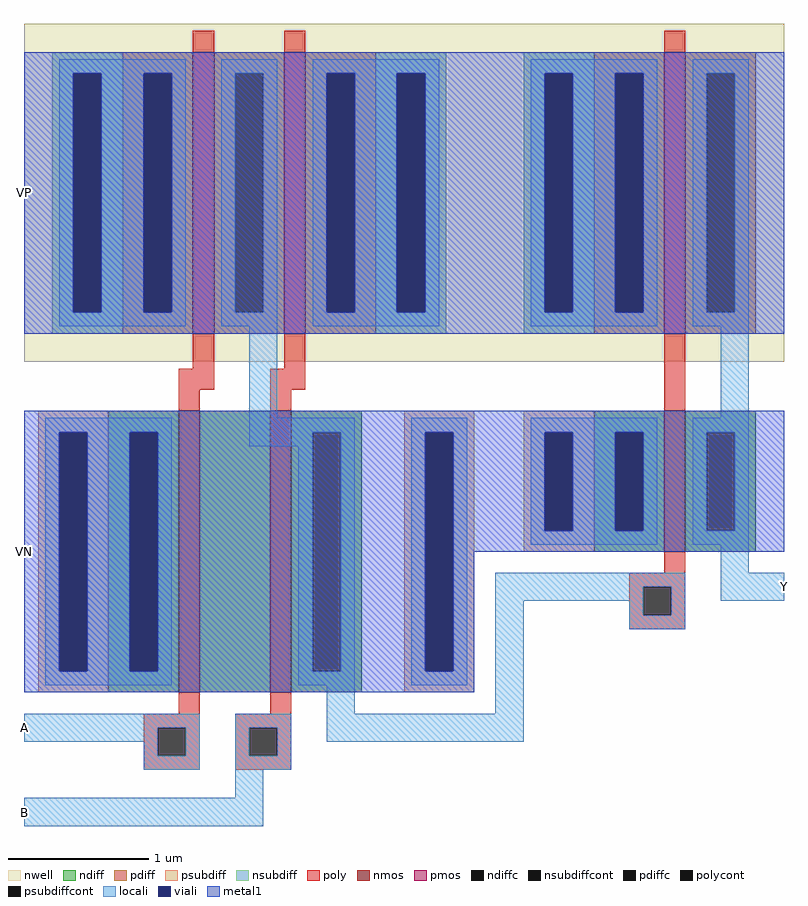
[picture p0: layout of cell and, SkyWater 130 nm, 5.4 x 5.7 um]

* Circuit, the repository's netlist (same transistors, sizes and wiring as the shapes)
* SPICE3 file created from and.ext - technology: sky130A

.subckt inverter Y w_n240_270# a_n200_0# a_n50_n110#
X0 Y a_n50_n110# w_n240_270# w_n240_270# sky130_fd_pr__pfet_01v8 ad=1 pd=5 as=1 ps=5 w=2 l=0.15
X1 Y a_n50_n110# a_n200_0# a_n200_0# sky130_fd_pr__nfet_01v8 ad=0.5 pd=3 as=0.5 ps=3 w=1 l=0.15
.ends

.subckt nand A B Y VP VN
X0 Y B a_10_0# VN sky130_fd_pr__nfet_01v8 ad=1 pd=5 as=0.5 ps=2.5 w=2 l=0.15
X1 Y A VP VP sky130_fd_pr__pfet_01v8 ad=0.5 pd=2.5 as=1 ps=5 w=2 l=0.15
X2 a_10_0# A VN VN sky130_fd_pr__nfet_01v8 ad=0.5 pd=2.5 as=1 ps=5 w=2 l=0.15
X3 VP B Y VP sky130_fd_pr__pfet_01v8 ad=1 pd=5 as=0.5 ps=2.5 w=2 l=0.15
.ends

Xinverter_0 Y VP VN nand_0/Y inverter
Xnand_0 A B nand_0/Y VP VN nand
.end

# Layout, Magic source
magic
tech sky130A
<< nwell >>
rect 320 330 335 570
<< locali >>
rect 335 80 355 180
rect 520 160 540 180
rect 0 60 20 80
rect 300 60 355 80
rect 0 0 20 20
<< metal1 >>
rect 0 350 15 550
rect 305 350 350 550
rect 525 350 540 550
rect 0 95 15 295
rect 305 195 350 295
rect 525 195 540 295
rect 305 95 320 195
use inverter  inverter_0
transform 1 0 455 0 1 195
box -120 -55 85 375
use nand  nand_0
transform 1 0 120 0 1 95
box -120 -95 200 475
<< labels >>
rlabel locali 0 70 0 70 7 A
port 1 w
rlabel locali 0 10 0 10 7 B
port 2 w
rlabel locali 540 170 540 170 3 Y
rlabel metal1 0 195 0 195 7 VN
port 5 w
rlabel metal1 0 450 0 450 7 VP
port 4 w
<< end >>

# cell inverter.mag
magic
tech sky130A
<< nwell >>
rect -120 135 85 375
<< nmos >>
rect 0 0 15 100
<< pmos >>
rect 0 155 15 355
<< ndiff >>
rect -50 85 0 100
rect -50 15 -35 85
rect -15 15 0 85
rect -50 0 0 15
rect 15 85 65 100
rect 15 15 30 85
rect 50 15 65 85
rect 15 0 65 15
<< pdiff >>
rect -50 340 0 355
rect -50 170 -35 340
rect -15 170 0 340
rect -50 155 0 170
rect 15 340 65 355
rect 15 170 30 340
rect 50 170 65 340
rect 15 155 65 170
<< ndiffc >>
rect -35 15 -15 85
rect 30 15 50 85
<< pdiffc >>
rect -35 170 -15 340
rect 30 170 50 340
<< psubdiff >>
rect -100 85 -50 100
rect -100 15 -85 85
rect -65 15 -50 85
rect -100 0 -50 15
<< nsubdiff >>
rect -100 340 -50 355
rect -100 170 -85 340
rect -65 170 -50 340
rect -100 155 -50 170
<< psubdiffcont >>
rect -85 15 -65 85
<< nsubdiffcont >>
rect -85 170 -65 340
<< poly >>
rect 0 355 15 370
rect 0 100 15 155
rect 0 -15 15 0
rect -25 -25 15 -15
rect -25 -45 -15 -25
rect 5 -45 15 -25
rect -25 -55 15 -45
<< polycont >>
rect -15 -45 5 -25
<< locali >>
rect -95 340 -5 350
rect -95 170 -85 340
rect -65 170 -35 340
rect -15 170 -5 340
rect -95 160 -5 170
rect 20 340 60 350
rect 20 170 30 340
rect 50 170 60 340
rect 20 160 60 170
rect 40 95 60 160
rect -95 85 -5 95
rect -95 15 -85 85
rect -65 15 -35 85
rect -15 15 -5 85
rect -95 5 -5 15
rect 20 85 60 95
rect 20 15 30 85
rect 50 15 60 85
rect 20 5 60 15
rect 40 -15 60 5
rect -120 -25 15 -15
rect -120 -35 -15 -25
rect -25 -45 -15 -35
rect 5 -45 15 -25
rect 40 -35 85 -15
rect -25 -55 15 -45
<< viali >>
rect -85 170 -65 340
rect -35 170 -15 340
rect -85 15 -65 85
rect -35 15 -15 85
<< metal1 >>
rect -120 340 85 355
rect -120 170 -85 340
rect -65 170 -35 340
rect -15 170 85 340
rect -120 155 85 170
rect -120 85 85 100
rect -120 15 -85 85
rect -65 15 -35 85
rect -15 15 85 85
rect -120 0 85 15
<< labels >>
rlabel locali 85 -25 85 -25 3 Y
port 2 e
<< end >>

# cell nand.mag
magic
tech sky130A
<< nwell >>
rect -120 235 200 475
<< nmos >>
rect -10 0 5 200
rect 55 0 70 200
<< pmos >>
rect 0 255 15 455
rect 65 255 80 455
<< ndiff >>
rect -60 185 -10 200
rect -60 15 -45 185
rect -25 15 -10 185
rect -60 0 -10 15
rect 5 0 55 200
rect 70 185 120 200
rect 70 15 85 185
rect 105 15 120 185
rect 70 0 120 15
<< pdiff >>
rect -50 440 0 455
rect -50 270 -35 440
rect -15 270 0 440
rect -50 255 0 270
rect 15 440 65 455
rect 15 270 30 440
rect 50 270 65 440
rect 15 255 65 270
rect 80 440 130 455
rect 80 270 95 440
rect 115 270 130 440
rect 80 255 130 270
<< ndiffc >>
rect -45 15 -25 185
rect 85 15 105 185
<< pdiffc >>
rect -35 270 -15 440
rect 30 270 50 440
rect 95 270 115 440
<< psubdiff >>
rect -110 185 -60 200
rect -110 15 -95 185
rect -75 15 -60 185
rect -110 0 -60 15
rect 150 185 200 200
rect 150 15 165 185
rect 185 15 200 185
rect 150 0 200 15
<< nsubdiff >>
rect -100 440 -50 455
rect -100 270 -85 440
rect -65 270 -50 440
rect -100 255 -50 270
rect 130 440 180 455
rect 130 270 145 440
rect 165 270 180 440
rect 130 255 180 270
<< psubdiffcont >>
rect -95 15 -75 185
rect 165 15 185 185
<< nsubdiffcont >>
rect -85 270 -65 440
rect 145 270 165 440
<< poly >>
rect 0 455 15 470
rect 65 455 80 470
rect 0 230 15 255
rect 65 230 80 255
rect -10 215 15 230
rect 55 215 80 230
rect -10 200 5 215
rect 55 200 70 215
rect -10 -15 5 0
rect 55 -15 70 0
rect -35 -25 5 -15
rect -35 -45 -25 -25
rect -5 -45 5 -25
rect -35 -55 5 -45
rect 30 -25 70 -15
rect 30 -45 40 -25
rect 60 -45 70 -25
rect 30 -55 70 -45
<< polycont >>
rect -25 -45 -5 -25
rect 40 -45 60 -25
<< locali >>
rect -95 440 -5 450
rect -95 270 -85 440
rect -65 270 -35 440
rect -15 270 -5 440
rect -95 260 -5 270
rect 20 440 60 450
rect 20 270 30 440
rect 50 270 60 440
rect 20 260 60 270
rect 85 440 175 450
rect 85 270 95 440
rect 115 270 145 440
rect 165 270 175 440
rect 85 260 175 270
rect 40 195 60 260
rect -105 185 -15 195
rect -105 15 -95 185
rect -75 15 -45 185
rect -25 15 -15 185
rect 40 185 115 195
rect 40 175 85 185
rect -105 5 -15 15
rect 75 15 85 175
rect 105 15 115 185
rect 75 5 115 15
rect 155 185 195 195
rect 155 15 165 185
rect 185 15 195 185
rect 155 5 195 15
rect 95 -15 115 5
rect -120 -25 5 -15
rect -120 -35 -25 -25
rect -35 -45 -25 -35
rect -5 -45 5 -25
rect -35 -55 5 -45
rect 30 -25 70 -15
rect 30 -45 40 -25
rect 60 -45 70 -25
rect 95 -35 200 -15
rect 30 -55 70 -45
rect 30 -75 50 -55
rect -120 -95 50 -75
<< viali >>
rect -85 270 -65 440
rect -35 270 -15 440
rect 95 270 115 440
rect 145 270 165 440
rect -95 15 -75 185
rect -45 15 -25 185
rect 165 15 185 185
<< metal1 >>
rect -120 440 200 455
rect -120 270 -85 440
rect -65 270 -35 440
rect -15 270 95 440
rect 115 270 145 440
rect 165 270 200 440
rect -120 255 200 270
rect -120 185 200 200
rect -120 15 -95 185
rect -75 15 -45 185
rect -25 15 165 185
rect 185 15 200 185
rect -120 0 200 15
<< labels >>
rlabel locali -120 -25 -120 -25 7 A
port 1 w
rlabel locali -120 -85 -120 -85 7 B
port 2 w
rlabel locali 200 -25 200 -25 3 Y
port 3 e
rlabel metal1 -120 355 -120 355 7 VP
port 4 w
rlabel metal1 -120 100 -120 100 7 VN
port 5 w
<< end >>
